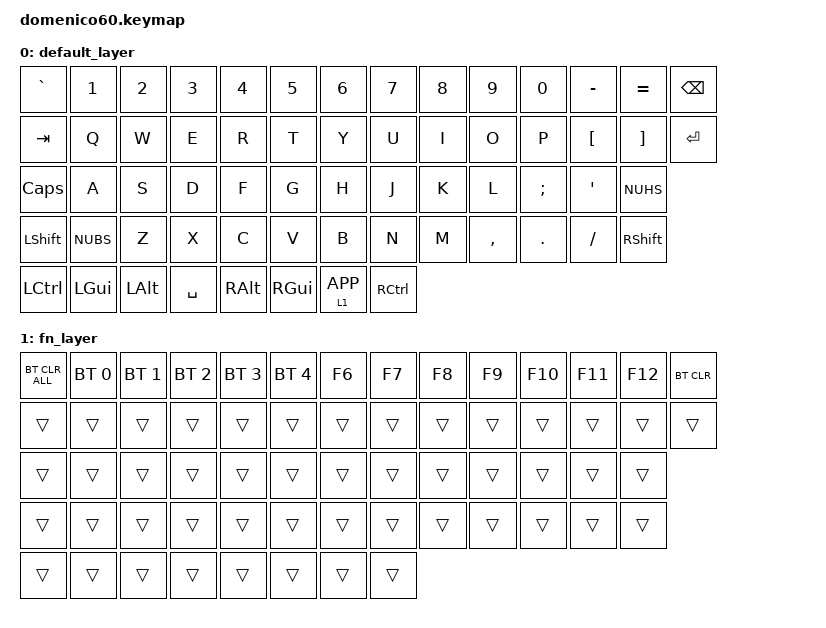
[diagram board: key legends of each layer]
#include <behaviors.dtsi>
#include <dt-bindings/zmk/keys.h>
#include <dt-bindings/zmk/bt.h>

/ {
    keymap {
        compatible = "zmk,keymap";

        default_layer {
            bindings = <
                &kp GRAVE &kp N1    &kp N2    &kp N3    &kp N4    &kp N5    &kp N6    &kp N7    &kp N8    &kp N9    &kp N0    &kp MINUS &kp EQUAL &kp BSPC
                &kp TAB   &kp Q     &kp W     &kp E     &kp R     &kp T     &kp Y     &kp U     &kp I     &kp O     &kp P     &kp LBKT  &kp RBKT  &kp RET
                &kp CAPS  &kp A     &kp S     &kp D     &kp F     &kp G     &kp H     &kp J     &kp K     &kp L     &kp SEMI  &kp SQT   &kp NUHS
                &kp LSHFT &kp NUBS  &kp Z     &kp X     &kp C     &kp V     &kp B     &kp N     &kp M     &kp COMMA &kp DOT   &kp FSLH  &kp RSHFT
                &kp LCTRL &kp LGUI  &kp LALT  &kp SPACE &kp RALT  &kp RGUI  &lt 1 K_APP &kp RCTRL
            >;
        };

        fn_layer {
            bindings = <
                &bt BT_CLR_ALL &bt BT_SEL 0 &bt BT_SEL 1 &bt BT_SEL 2 &bt BT_SEL 3 &bt BT_SEL 4 &kp F6    &kp F7    &kp F8    &kp F9    &kp F10   &kp F11   &kp F12   &bt BT_CLR
                &trans        &trans       &trans       &trans       &trans       &trans       &trans    &trans    &trans    &trans    &trans    &trans    &trans    &trans
                &trans        &trans       &trans       &trans       &trans       &trans       &trans    &trans    &trans    &trans    &trans    &trans    &trans
                &trans        &trans       &trans       &trans       &trans       &trans       &trans    &trans    &trans    &trans    &trans    &trans    &trans
                &trans        &trans       &trans       &trans       &trans       &trans       &trans    &trans
            >;
        };
    };
};
